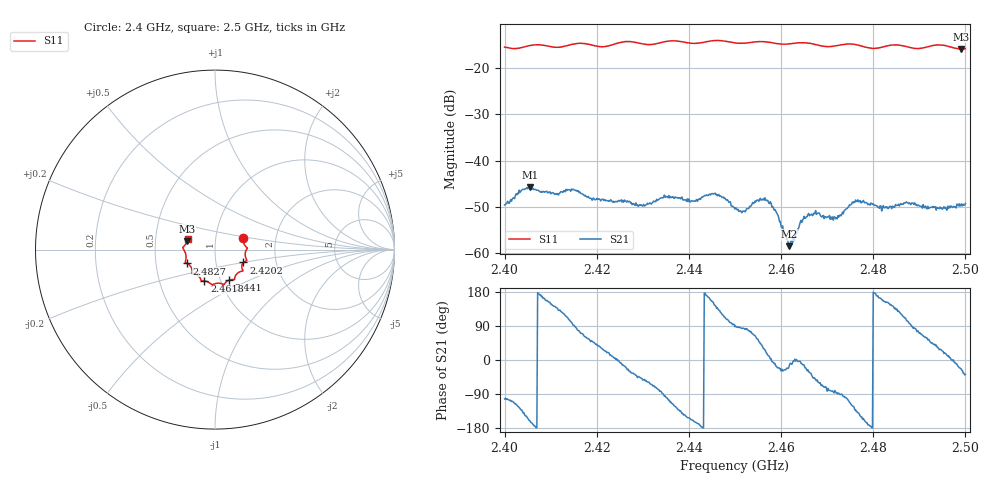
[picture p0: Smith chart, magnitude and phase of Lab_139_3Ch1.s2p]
# Hz S RI R 50
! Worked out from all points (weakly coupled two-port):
!   601 points, 2.4 GHz to 2.5 GHz, reference 50 ohm
!   highest |S21| = -45.79 dB at 2.4055 GHz (marker M1); lowest = -58.6 dB at 2.4617 GHz (marker M2)
!   lowest |S11| = -15.8 dB at 2.499 GHz (marker M3), VSWR 1.39, Z = 36.4 + j3.48 ohm
!   |S11| at or under -10 dB: start of sweep to end of sweep
!   S12 and S22 are empty: the file has one direction only
!   S11 on the Smith chart (normalised r, x): 2.4 GHz: 1.36, +0.18; 2.4202 GHz: 1.36, -0.20; 2.441 GHz: 1.10, -0.39; 2.4618 GHz: 0.84, -0.30; 2.4827 GHz: 0.72, -0.11; 2.5 GHz: 0.73, +0.09
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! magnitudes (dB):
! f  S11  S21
! 2.4 GHz  -15.4  -49.7
! 2.4055 GHz  -15.0  -45.8
! 2.4167 GHz  -14.5  -47.2
! 2.4202 GHz  -15.2  -48.5
! 2.4295 GHz  -14.6  -49.7
! 2.4333 GHz  -14.5  -48.5
! 2.441 GHz  -14.6  -48.8
! 2.4455 GHz  -13.9  -47.2
! 2.45 GHz  -14.4  -50.6
! 2.4518 GHz  -14.5  -51.0
! 2.4567 GHz  -14.2  -48.6
! 2.4588 GHz  -14.6  -51.0
! 2.4617 GHz  -14.7  -58.6
! 2.4618 GHz  -14.6  -58.3
! 2.4647 GHz  -14.4  -53.0
! 2.4667 GHz  -14.6  -51.6
! 2.4718 GHz  -15.1  -52.7
! 2.4767 GHz  -14.9  -48.5
! 2.4827 GHz  -15.2  -50.1
! 2.4833 GHz  -15.0  -50.4
! 2.499 GHz  -15.8  -49.6
! 2.5 GHz  -15.7  -49.3
